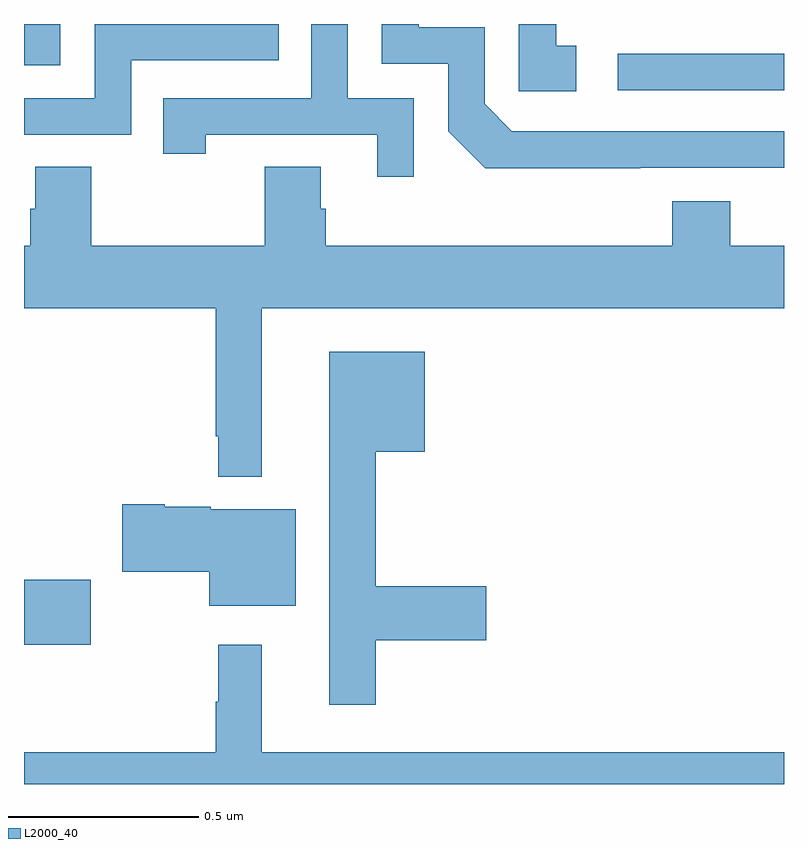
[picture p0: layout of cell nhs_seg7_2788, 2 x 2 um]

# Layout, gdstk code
import gdstk
lib = gdstk.Library(unit=1e-6, precision=1e-09)
def R(c, l, rs):  # rectangles x0, y0, x1, y1
    for r in rs: c.add(gdstk.rectangle(r[:2], r[2:], *l))
def P(c, l, *ps):  # polygons
    for p in ps: c.add(gdstk.Polygon(p, *l))
L2000_40 = (2000, 40)

nhs_seg7_2788 = lib.new_cell('nhs_seg7_2788')
R(nhs_seg7_2788, L2000_40, [(150,1030.367,150.175,1030.538), (151.563,1031.826,152,1031.922), (150,1031.892,150.096,1032)])
P(nhs_seg7_2788, L2000_40, [(151.453,1031.943),(151.4,1031.943),(151.4,1032),(151.302,1032),(151.302,1031.823),(151.453,1031.823)],
  [(151.622,1031.622),(152,1031.622),(152,1031.718),(151.284,1031.718),(151.212,1031.79),(151.212,1031.991),(151.039,1031.991),(151.039,1032),(150.942,1032),(150.942,1031.895),(151.116,1031.895),(151.116,1031.718),(151.214,1031.621),(151.622,1031.621)],
  [(150.282,1031.904),(150.671,1031.904),(150.671,1032),(150.186,1032),(150.186,1031.805),(150,1031.805),(150,1031.709),(150.282,1031.709)],
  [(151.026,1031.805),(150.852,1031.805),(150.852,1032),(150.756,1032),(150.756,1031.805),(150.367,1031.805),(150.367,1031.658),(150.478,1031.658),(150.478,1031.709),(150.929,1031.709),(150.929,1031.598),(151.026,1031.598)],
  [(150.625,1031.252),(152,1031.252),(152,1031.416),(151.858,1031.416),(151.858,1031.533),(151.706,1031.533),(151.706,1031.416),(150.794,1031.416),(150.794,1031.514),(150.781,1031.514),(150.781,1031.624),(150.634,1031.624),(150.634,1031.416),(150.177,1031.416),(150.177,1031.624),(150.029,1031.624),(150.029,1031.514),(150.017,1031.514),(150.017,1031.416),(150,1031.416),(150,1031.252),(150.504,1031.252),(150.504,1030.915),(150.511,1030.915),(150.511,1030.808),(150.625,1030.808)],
  [(150.925,1030.378),(151.216,1030.378),(151.216,1030.52),(150.925,1030.52),(150.925,1030.874),(151.054,1030.874),(151.054,1031.137),(150.803,1031.137),(150.803,1030.209),(150.925,1030.209)],
  [(150.715,1030.723),(150.492,1030.723),(150.492,1030.729),(150.37,1030.729),(150.37,1030.736),(150.258,1030.736),(150.258,1030.558),(150.488,1030.558),(150.488,1030.469),(150.715,1030.469)],
  [(152,1030.084),(150.625,1030.084),(150.625,1030.366),(150.511,1030.366),(150.511,1030.217),(150.504,1030.217),(150.504,1030.084),(150,1030.084),(150,1030),(152,1030)])

lib.write_gds('nhs_seg7_2788.gds')
